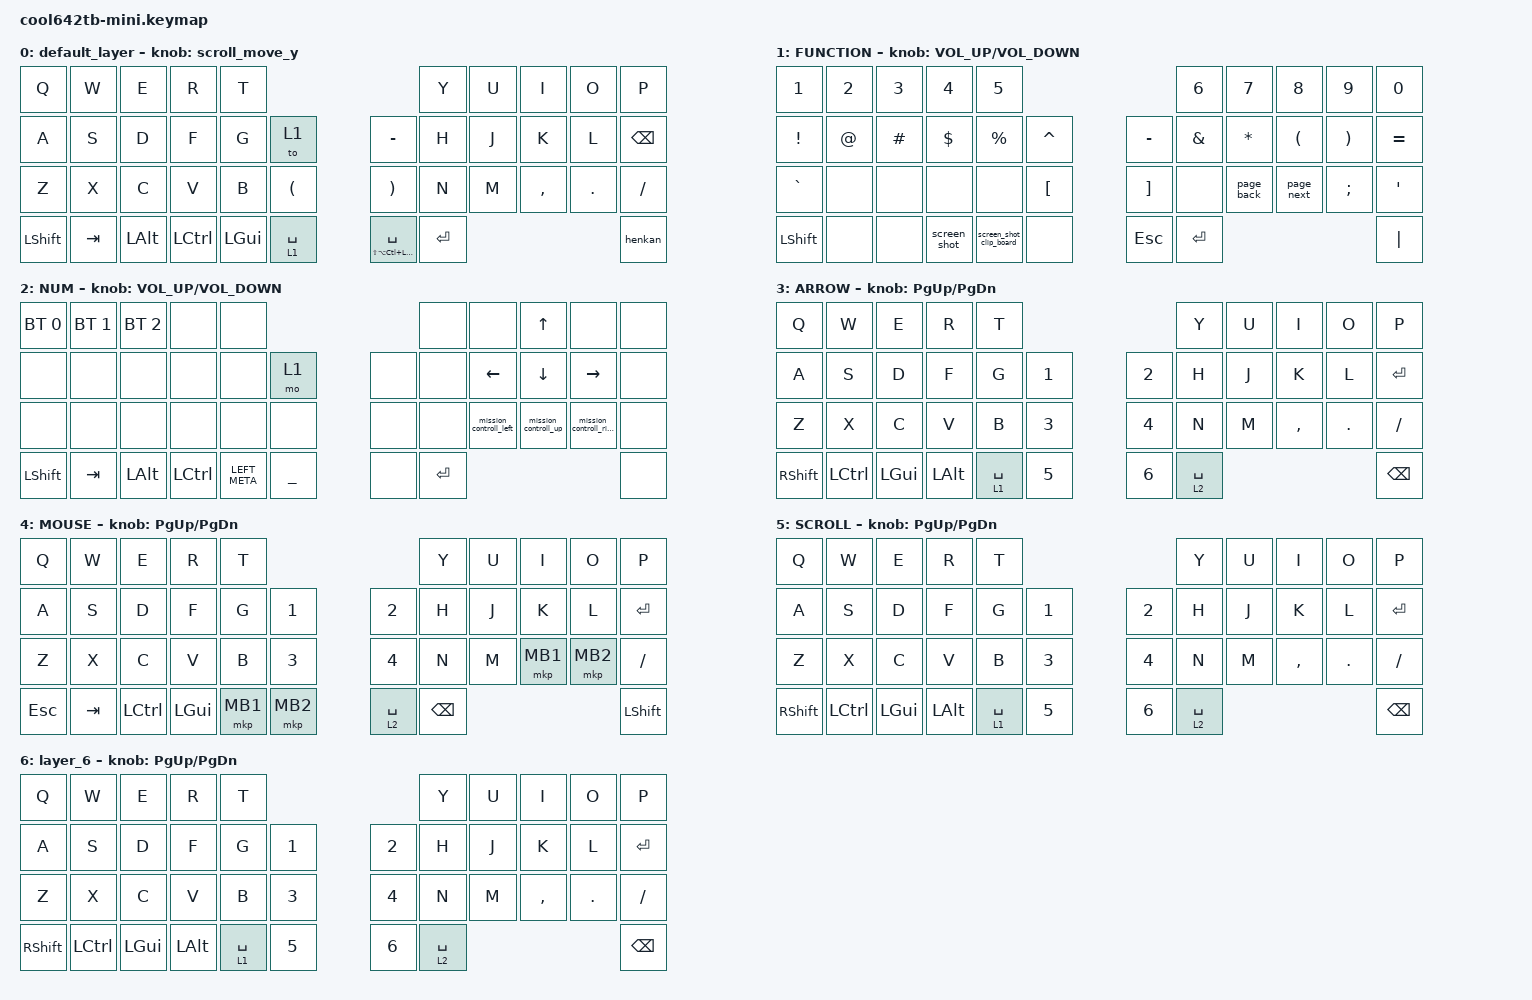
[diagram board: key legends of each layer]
#include <behaviors.dtsi>
#include <dt-bindings/zmk/bt.h>
#include <dt-bindings/zmk/keys.h>
#include <dt-bindings/zmk/pointing.h>

#define ZMK_POINTING_DEFAULT_SCRL_VAL 100
#define MOUSE 4
#define SCROLL 5
#define NUM 6

&mt {
    flavor = "balanced";
    quick-tap-ms = <0>;
};

/ {
    combos {
        compatible = "zmk,combos";

        comb1 {
            bindings = <&kp TAB>;
            key-positions = <11 10>;
        };

        comb2 {
            bindings = <&kp LS(ESCAPE)>;
            key-positions = <0 1>;
        };

        MS_BTN1_ {
            bindings = <&mkp MB1>;
            key-positions = <18 19>;
        };

        MS_BTN2_ {
            bindings = <&mkp MB2>;
            key-positions = <19 20>;
        };
    };

    macros {
        to_layer_0: to_layer_0 {
            compatible = "zmk,behavior-macro-one-param";
            #binding-cells = <1>;
            bindings = <&to 0 &macro_param_1to1 &kp MACRO_PLACEHOLDER>;
            label = "TO_LAYER_0";
        };

        henkan: henkan {
            compatible = "zmk,behavior-macro";
            #binding-cells = <0>;
            bindings =
                <&macro_press>,
                <&kp LCTRL>,
                <&macro_tap>,
                <&kp SPACE>,
                <&macro_release>,
                <&kp LCTRL>;

            label = "HENKAN";
        };

        mission_controll_up: mission_controll {
            compatible = "zmk,behavior-macro";
            #binding-cells = <0>;
            bindings =
                <&macro_press>,
                <&kp LCTRL>,
                <&macro_tap>,
                <&kp UP_ARROW>,
                <&macro_release>,
                <&kp LCTRL>;

            label = "MISSION_CONTROLL";
        };

        mission_controll_left: mission_controll_left {
            compatible = "zmk,behavior-macro";
            #binding-cells = <0>;
            bindings =
                <&macro_press>,
                <&kp LCTRL>,
                <&macro_tap>,
                <&kp LEFT_ARROW>,
                <&macro_release>,
                <&kp LCTRL>;

            label = "MISSION_CONTROLL_LEFT";
        };

        mission_controll_right: mission_controll_right {
            compatible = "zmk,behavior-macro";
            #binding-cells = <0>;
            bindings =
                <&macro_press>,
                <&kp LCTRL>,
                <&macro_tap>,
                <&kp RIGHT_ARROW>,
                <&macro_release>,
                <&kp LCTRL>;

            label = "MISSION_CONTROLL_RIGHT";
        };

        page_back: page_back {
            compatible = "zmk,behavior-macro";
            #binding-cells = <0>;
            bindings =
                <&macro_press>,
                <&kp LEFT_COMMAND>,
                <&macro_tap>,
                <&kp LEFT_ARROW>,
                <&macro_release>,
                <&kp LEFT_COMMAND>;

            label = "PAGE_BACK";
        };

        page_next: page_next {
            compatible = "zmk,behavior-macro";
            #binding-cells = <0>;
            bindings =
                <&macro_press>,
                <&kp LEFT_COMMAND>,
                <&macro_tap>,
                <&kp RIGHT_ARROW>,
                <&macro_release>,
                <&kp LEFT_COMMAND>;

            label = "PAGE_NEXT";
        };

        screen_shot_clip_board: screen_shot_clip_board {
            compatible = "zmk,behavior-macro";
            #binding-cells = <0>;
            bindings =
                <&macro_press>,
                <&kp LEFT_COMMAND>,
                <&macro_press>,
                <&kp LEFT_SHIFT>,
                <&macro_press>,
                <&kp LEFT_CONTROL>,
                <&macro_tap>,
                <&kp NUMBER_4>,
                <&macro_release>,
                <&kp LEFT_COMMAND>,
                <&macro_release>,
                <&kp LEFT_SHIFT>,
                <&macro_release>,
                <&kp LEFT_CONTROL>;

            label = "SCREEN_SHOT_CLIP_BOARD";
        };

        screen_shot: screen_shot {
            compatible = "zmk,behavior-macro";
            #binding-cells = <0>;
            bindings =
                <&macro_press>,
                <&kp LEFT_COMMAND>,
                <&macro_press>,
                <&kp LEFT_SHIFT>,
                <&macro_tap>,
                <&kp NUMBER_4>,
                <&macro_release>,
                <&kp LEFT_COMMAND>,
                <&macro_release>,
                <&kp LEFT_SHIFT>;

            label = "SCREEN_SHOT";
        };
    };

    behaviors {
        lt_to_layer_0: lt_to_layer_0 {
            compatible = "zmk,behavior-hold-tap";
            label = "LAYER_TAP_TO_0";
            bindings = <&mo>, <&to_layer_0>;

            #binding-cells = <2>;
            tapping-term-ms = <200>;
        };

        scroll_up_down: behavior_sensor_rotate_mouse_wheel_up_down {
            compatible = "zmk,behavior-sensor-rotate";
            #sensor-binding-cells = <0>;
            bindings = <&msc SCRL_UP>, <&msc SCRL_DOWN>;

            tap-ms = <20>;
        };
    };

    // エンコーダー：キー

    rot_kp: sensor_rotate_kp {
        compatible = "zmk,behavior-sensor-rotate-var";
        #sensor-binding-cells = <2>;
        bindings = <&kp>, <&kp>;
    };

    // エンコーダー：マウススクロール

    rot_msc: sensor_rotate_msc {
        compatible = "zmk,behavior-sensor-rotate-var";
        #sensor-binding-cells = <2>;
        tap-ms = <20>;
        bindings = <&msc>, <&msc>;
    };

    // エンコーダー：マウススクロール(MOVE_Y)

    scroll_move_y: sensor_rotate_msc_for_move_y {
        compatible = "zmk,behavior-sensor-rotate";
        #sensor-binding-cells = <0>;
        bindings = <&msc MOVE_Y(20)>, <&msc MOVE_Y(-20)>;

        // tap-ms下限メモ Yの値で可変: Y(15) <81>, Y(20) <65>, Y(25) <49>

        tap-ms = <65>;
    };

    // エンコーダー：マウススクロール(MOVE_X)

    scroll_move_x: sensor_rotate_msc_for_move_x {
        compatible = "zmk,behavior-sensor-rotate";
        #sensor-binding-cells = <0>;
        bindings = <&msc MOVE_X(20)>, <&msc MOVE_X(-20)>;

        // tap-ms下限メモ Xの値で可変: X(15) <81>, X(20) <65>, X(25) <49>

        tap-ms = <65>;
    };

    keymap {
        compatible = "zmk,keymap";

        default_layer {
            bindings = <
&kp Q           &kp W    &kp E         &kp R      &kp T                                                                       &kp Y      &kp U  &kp I      &kp O       &kp P
&kp A           &kp S    &kp D         &kp F      &kp G         &to 1                     &kp MINUS                           &kp H      &kp J  &kp K      &kp L       &kp BACKSPACE
&kp Z           &kp X    &kp C         &kp V      &kp B         &kp LEFT_PARENTHESIS      &kp RIGHT_PARENTHESIS               &kp N      &kp M  &kp COMMA  &kp PERIOD  &kp SLASH
&kp LEFT_SHIFT  &kp TAB  &kp LEFT_ALT  &kp LCTRL  &kp LEFT_GUI  &lt 1 SPACE               &mt LS(LA(LC(LEFT_COMMAND))) SPACE  &kp ENTER                                &henkan
            >;

            sensor-bindings = <&scroll_move_y>;
        };

        FUNCTION {
            bindings = <
&kp N1           &kp N2       &kp N3    &kp N4        &kp N5                                                            &kp N6         &kp N7      &kp N8                &kp N9                 &kp N0
&kp EXCLAMATION  &kp AT_SIGN  &kp HASH  &kp DOLLAR    &kp PERCENT              &kp CARET             &kp MINUS          &kp AMPERSAND  &kp STAR    &kp LEFT_PARENTHESIS  &kp RIGHT_PARENTHESIS  &kp EQUAL
&kp GRAVE        &none        &none     &none         &none                    &kp LEFT_BRACKET      &kp RIGHT_BRACKET  &none          &page_back  &page_next            &kp SEMICOLON          &kp SINGLE_QUOTE
&kp LEFT_SHIFT   &none        &none     &screen_shot  &screen_shot_clip_board  &none                 &kp ESC            &kp ENTER                                                               &kp PIPE
            >;

            sensor-bindings = <&inc_dec_kp C_VOLUME_UP C_VOLUME_DOWN>;
        };

        NUM {
            bindings = <
&bt BT_SEL 0    &bt BT_SEL 1  &bt BT_SEL 2  &none      &none                                     &none       &none                   &kp UP_ARROW          &none                    &none
&none           &none         &none         &none      &none          &mo 1               &none  &none       &kp LEFT_ARROW          &kp DOWN_ARROW        &kp RIGHT_ARROW          &none
&none           &none         &none         &none      &none          &none               &none  &none       &mission_controll_left  &mission_controll_up  &mission_controll_right  &none
&kp LEFT_SHIFT  &kp TAB       &kp LEFT_ALT  &kp LCTRL  &kp LEFT_META  &kp UNDERSCORE      &none  &kp RETURN                                                                         &none
            >;

            sensor-bindings = <&inc_dec_kp C_VOLUME_UP C_VOLUME_DOWN>;
        };

        ARROW {
            bindings = <
&kp Q       &kp W      &kp E     &kp R     &kp T                            &kp Y        &kp U  &kp I      &kp O       &kp P
&kp A       &kp S      &kp D     &kp F     &kp G        &kp N1      &kp N2  &kp H        &kp J  &kp K      &kp L       &kp ENTER
&kp Z       &kp X      &kp C     &kp V     &kp B        &kp N3      &kp N4  &kp N        &kp M  &kp COMMA  &kp PERIOD  &kp SLASH
&kp RSHIFT  &kp LCTRL  &kp LGUI  &kp LALT  &lt 1 SPACE  &kp N5      &kp N6  &lt 2 SPACE                                &kp BSPC
            >;

            sensor-bindings = <&inc_dec_kp PG_UP PAGE_DOWN>;
        };

        MOUSE {
            bindings = <
&kp Q       &kp W    &kp E             &kp R         &kp T                                &kp Y          &kp U  &kp I     &kp O     &kp P
&kp A       &kp S    &kp D             &kp F         &kp G     &kp N1        &kp N2       &kp H          &kp J  &kp K     &kp L     &kp ENTER
&kp Z       &kp X    &kp C             &kp V         &kp B     &kp N3        &kp N4       &kp N          &kp M  &mkp MB1  &mkp MB2  &kp SLASH
&kp ESCAPE  &kp TAB  &kp LEFT_CONTROL  &kp LEFT_GUI  &mkp MB1  &mkp MB2      &lt 2 SPACE  &kp BACKSPACE                             &kp LEFT_SHIFT
            >;

            sensor-bindings = <&inc_dec_kp PG_UP PAGE_DOWN>;
        };

        SCROLL {
            bindings = <
&kp Q       &kp W      &kp E     &kp R     &kp T                            &kp Y        &kp U  &kp I      &kp O       &kp P
&kp A       &kp S      &kp D     &kp F     &kp G        &kp N1      &kp N2  &kp H        &kp J  &kp K      &kp L       &kp ENTER
&kp Z       &kp X      &kp C     &kp V     &kp B        &kp N3      &kp N4  &kp N        &kp M  &kp COMMA  &kp PERIOD  &kp SLASH
&kp RSHIFT  &kp LCTRL  &kp LGUI  &kp LALT  &lt 1 SPACE  &kp N5      &kp N6  &lt 2 SPACE                                &kp BSPC
            >;

            sensor-bindings = <&inc_dec_kp PG_UP PAGE_DOWN>;
        };

        layer_6 {
            bindings = <
&kp Q       &kp W      &kp E     &kp R     &kp T                            &kp Y        &kp U  &kp I      &kp O       &kp P
&kp A       &kp S      &kp D     &kp F     &kp G        &kp N1      &kp N2  &kp H        &kp J  &kp K      &kp L       &kp ENTER
&kp Z       &kp X      &kp C     &kp V     &kp B        &kp N3      &kp N4  &kp N        &kp M  &kp COMMA  &kp PERIOD  &kp SLASH
&kp RSHIFT  &kp LCTRL  &kp LGUI  &kp LALT  &lt 1 SPACE  &kp N5      &kp N6  &lt 2 SPACE                                &kp BSPC
            >;

            sensor-bindings = <&inc_dec_kp PG_UP PAGE_DOWN>;
        };
    };
};
